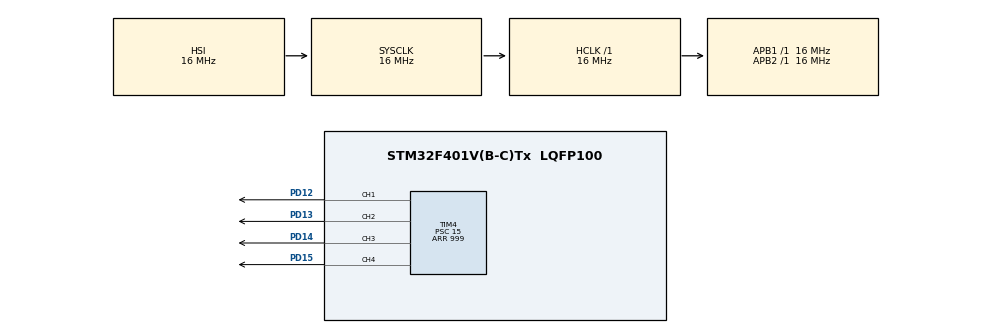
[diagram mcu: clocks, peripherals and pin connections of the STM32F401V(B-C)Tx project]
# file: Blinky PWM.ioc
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Mcu.Family=STM32F4
Mcu.Name=STM32F401V(B-C)Tx
Mcu.Package=LQFP100
NVIC.PriorityGroup=NVIC_PRIORITYGROUP_4
PD12.Signal=S_TIM4_CH1
PD13.Signal=S_TIM4_CH2
PD14.Signal=S_TIM4_CH3
PD15.Signal=S_TIM4_CH4
ProjectManager.HeapSize=0x200
ProjectManager.StackSize=0x400
ProjectManager.TargetToolchain=MDK-ARM V5
RCC.AHBFreq_Value=16000000
RCC.APB1Freq_Value=16000000
RCC.APB2Freq_Value=16000000
RCC.CortexFreq_Value=16000000
RCC.HSE_VALUE=25000000
RCC.HSI_VALUE=16000000
RCC.LSE_VALUE=32768
RCC.SYSCLKFreq_VALUE=16000000
RCC.VCOOutputFreq_Value=192000000
SH.S_TIM4_CH1.0=TIM4_CH1,PWM Generation1 CH1
SH.S_TIM4_CH2.0=TIM4_CH2,PWM Generation2 CH2
SH.S_TIM4_CH3.0=TIM4_CH3,PWM Generation3 CH3
SH.S_TIM4_CH4.0=TIM4_CH4,PWM Generation4 CH4
TIM4.Channel-PWM\ Generation1\ CH1=TIM_CHANNEL_1
TIM4.Channel-PWM\ Generation2\ CH2=TIM_CHANNEL_2
TIM4.Channel-PWM\ Generation3\ CH3=TIM_CHANNEL_3
TIM4.Channel-PWM\ Generation4\ CH4=TIM_CHANNEL_4
TIM4.Period=999
TIM4.Prescaler=15
board=Blinky PWM

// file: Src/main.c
/**
  ******************************************************************************
  * File Name          : main.c
  * Description        : Main program body
  ******************************************************************************
  ** This notice applies to any and all portions of this file
  * that are not between comment pairs USER CODE BEGIN and
  * USER CODE END. Other portions of this file, whether
  * inserted by the user or by software development tools
  * are owned by their respective copyright owners.
  *
  * COPYRIGHT(c) 2017 STMicroelectronics
  *
  * Redistribution and use in source and binary forms, with or without modification,
  * are permitted provided that the following conditions are met:
  *   1. Redistributions of source code must retain the above copyright notice,
  *      this list of conditions and the following disclaimer.
  *   2. Redistributions in binary form must reproduce the above copyright notice,
  *      this list of conditions and the following disclaimer in the documentation
  *      and/or other materials provided with the distribution.
  *   3. Neither the name of STMicroelectronics nor the names of its contributors
  *      may be used to endorse or promote products derived from this software
  *      without specific prior written permission.
  *
  * THIS SOFTWARE IS PROVIDED BY THE COPYRIGHT HOLDERS AND CONTRIBUTORS "AS IS"
  * AND ANY EXPRESS OR IMPLIED WARRANTIES, INCLUDING, BUT NOT LIMITED TO, THE
  * IMPLIED WARRANTIES OF MERCHANTABILITY AND FITNESS FOR A PARTICULAR PURPOSE ARE
  * DISCLAIMED. IN NO EVENT SHALL THE COPYRIGHT HOLDER OR CONTRIBUTORS BE LIABLE
  * FOR ANY DIRECT, INDIRECT, INCIDENTAL, SPECIAL, EXEMPLARY, OR CONSEQUENTIAL
  * DAMAGES (INCLUDING, BUT NOT LIMITED TO, PROCUREMENT OF SUBSTITUTE GOODS OR
  * SERVICES; LOSS OF USE, DATA, OR PROFITS; OR BUSINESS INTERRUPTION) HOWEVER
  * CAUSED AND ON ANY THEORY OF LIABILITY, WHETHER IN CONTRACT, STRICT LIABILITY,
  * OR TORT (INCLUDING NEGLIGENCE OR OTHERWISE) ARISING IN ANY WAY OUT OF THE USE
  * OF THIS SOFTWARE, EVEN IF ADVISED OF THE POSSIBILITY OF SUCH DAMAGE.
  *
  ******************************************************************************
  */
#include "main.h"
#include "stm32f4xx_hal.h"

TIM_HandleTypeDef htim4;

/* USER CODE BEGIN PV */
/* Private variables ---------------------------------------------------------*/

/* USER CODE END PV */

void SystemClock_Config(void);
static void MX_GPIO_Init(void);
static void MX_TIM4_Init(void);
void HAL_TIM_MspPostInit(TIM_HandleTypeDef *htim);

/* USER CODE BEGIN PFP */
/* Private function prototypes -----------------------------------------------*/

/* USER CODE END PFP */

int main(void)
{

  /* USER CODE BEGIN 1 */
	int i;
  /* USER CODE END 1 */

  /* MCU Configuration----------------------------------------------------------*/

  /* Reset of all peripherals, Initializes the Flash interface and the Systick. */
  HAL_Init();

  /* Configure the system clock */
  SystemClock_Config();

  /* Initialize all configured peripherals */
  MX_GPIO_Init();
  MX_TIM4_Init();

  /* USER CODE BEGIN 2 */
	HAL_TIM_PWM_Start(&htim4, TIM_CHANNEL_1);
	HAL_TIM_PWM_Start(&htim4, TIM_CHANNEL_2);
	HAL_TIM_PWM_Start(&htim4, TIM_CHANNEL_3);
	HAL_TIM_PWM_Start(&htim4, TIM_CHANNEL_4);
	TIM4->CCR1 = 0;
	TIM4->CCR2 = 0;
	TIM4->CCR3 = 0;
	TIM4->CCR4 = 0;
  /* USER CODE END 2 */

  /* Infinite loop */
  while (1)
  {

  /* USER CODE BEGIN 3 */
	for(i = 1; i <= 10; i++)
		{
			HAL_Delay(200);
			TIM4->CCR1 = 50*i;
			TIM4->CCR2 = 50*i;
			TIM4->CCR3 = 50*i;
			TIM4->CCR4 = 50*i;
		}

		for(i = 9; i >= 0; i--)
		{
			HAL_Delay(200);
			TIM4->CCR1 = 50*i;
			TIM4->CCR2 = 50*i;
			TIM4->CCR3 = 50*i;
			TIM4->CCR4 = 50*i;
		}
  }
  /* USER CODE END 3 */

}

/** System Clock Configuration
*/
void SystemClock_Config(void)
{

  RCC_OscInitTypeDef RCC_OscInitStruct;
  RCC_ClkInitTypeDef RCC_ClkInitStruct;

    /**Configure the main internal regulator output voltage
    */
  __HAL_RCC_PWR_CLK_ENABLE();

  __HAL_PWR_VOLTAGESCALING_CONFIG(PWR_REGULATOR_VOLTAGE_SCALE2);

    /**Initializes the CPU, AHB and APB busses clocks
    */
  RCC_OscInitStruct.OscillatorType = RCC_OSCILLATORTYPE_HSI;
  RCC_OscInitStruct.HSIState = RCC_HSI_ON;
  RCC_OscInitStruct.HSICalibrationValue = 16;
  RCC_OscInitStruct.PLL.PLLState = RCC_PLL_NONE;
  if (HAL_RCC_OscConfig(&RCC_OscInitStruct) != HAL_OK)
  {
    _Error_Handler(__FILE__, __LINE__);
  }

    /**Initializes the CPU, AHB and APB busses clocks
    */
  RCC_ClkInitStruct.ClockType = RCC_CLOCKTYPE_HCLK|RCC_CLOCKTYPE_SYSCLK
                              |RCC_CLOCKTYPE_PCLK1|RCC_CLOCKTYPE_PCLK2;
  RCC_ClkInitStruct.SYSCLKSource = RCC_SYSCLKSOURCE_HSI;
  RCC_ClkInitStruct.AHBCLKDivider = RCC_SYSCLK_DIV1;
  RCC_ClkInitStruct.APB1CLKDivider = RCC_HCLK_DIV1;
  RCC_ClkInitStruct.APB2CLKDivider = RCC_HCLK_DIV1;

  if (HAL_RCC_ClockConfig(&RCC_ClkInitStruct, FLASH_LATENCY_0) != HAL_OK)
  {
    _Error_Handler(__FILE__, __LINE__);
  }

    /**Configure the Systick interrupt time
    */
  HAL_SYSTICK_Config(HAL_RCC_GetHCLKFreq()/1000);

    /**Configure the Systick
    */
  HAL_SYSTICK_CLKSourceConfig(SYSTICK_CLKSOURCE_HCLK);

  /* SysTick_IRQn interrupt configuration */
  HAL_NVIC_SetPriority(SysTick_IRQn, 0, 0);
}

/* TIM4 init function */
static void MX_TIM4_Init(void)
{

  TIM_MasterConfigTypeDef sMasterConfig;
  TIM_OC_InitTypeDef sConfigOC;

  htim4.Instance = TIM4;
  htim4.Init.Prescaler = 15;
  htim4.Init.CounterMode = TIM_COUNTERMODE_UP;
  htim4.Init.Period = 999;
  htim4.Init.ClockDivision = TIM_CLOCKDIVISION_DIV1;
  if (HAL_TIM_PWM_Init(&htim4) != HAL_OK)
  {
    _Error_Handler(__FILE__, __LINE__);
  }

  sMasterConfig.MasterOutputTrigger = TIM_TRGO_RESET;
  sMasterConfig.MasterSlaveMode = TIM_MASTERSLAVEMODE_DISABLE;
  if (HAL_TIMEx_MasterConfigSynchronization(&htim4, &sMasterConfig) != HAL_OK)
  {
    _Error_Handler(__FILE__, __LINE__);
  }

  sConfigOC.OCMode = TIM_OCMODE_PWM1;
  sConfigOC.Pulse = 0;
  sConfigOC.OCPolarity = TIM_OCPOLARITY_HIGH;
  sConfigOC.OCFastMode = TIM_OCFAST_DISABLE;
  if (HAL_TIM_PWM_ConfigChannel(&htim4, &sConfigOC, TIM_CHANNEL_1) != HAL_OK)
  {
    _Error_Handler(__FILE__, __LINE__);
  }

  if (HAL_TIM_PWM_ConfigChannel(&htim4, &sConfigOC, TIM_CHANNEL_2) != HAL_OK)
  {
    _Error_Handler(__FILE__, __LINE__);
  }

  if (HAL_TIM_PWM_ConfigChannel(&htim4, &sConfigOC, TIM_CHANNEL_3) != HAL_OK)
  {
    _Error_Handler(__FILE__, __LINE__);
  }

  if (HAL_TIM_PWM_ConfigChannel(&htim4, &sConfigOC, TIM_CHANNEL_4) != HAL_OK)
  {
    _Error_Handler(__FILE__, __LINE__);
  }

  HAL_TIM_MspPostInit(&htim4);

}

/** Pinout Configuration
*/
static void MX_GPIO_Init(void)
{

  /* GPIO Ports Clock Enable */
  __HAL_RCC_GPIOD_CLK_ENABLE();

}

void _Error_Handler(char * file, int line)
{
  while(1)
  {
  }
}

/************************ (C) COPYRIGHT STMicroelectronics *****END OF FILE****/
